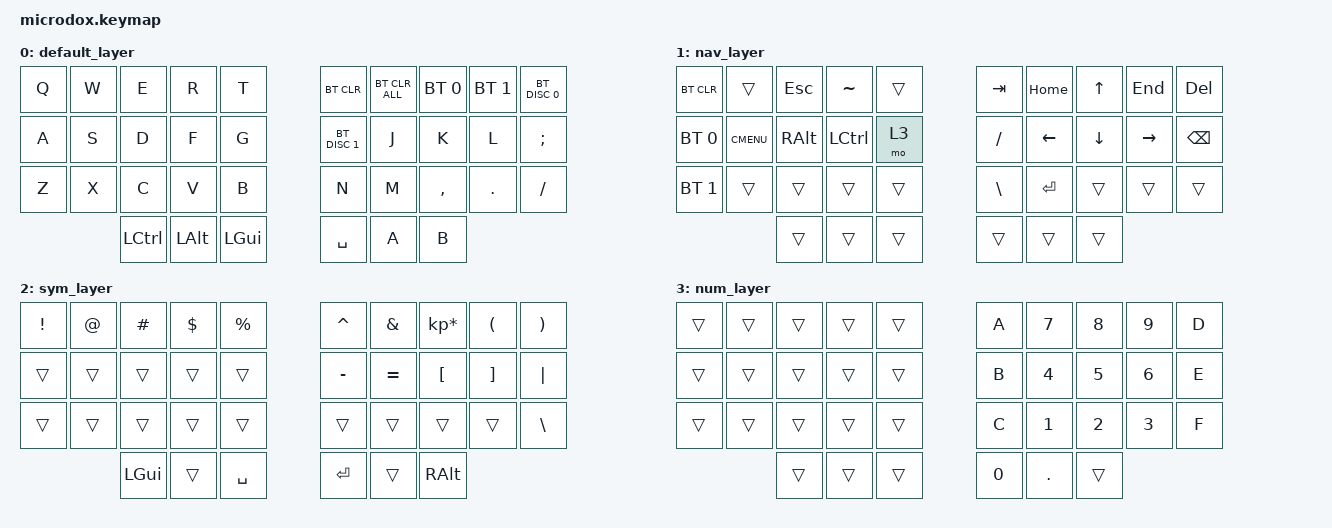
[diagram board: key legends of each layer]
/*
 * Copyright (c) 2020 The ZMK Contributors
 *
 * SPDX-License-Identifier: MIT
 */

#include <behaviors.dtsi>
#include <dt-bindings/zmk/bt.h>
#include <dt-bindings/zmk/keys.h>

/ {
    keymap {
        compatible = "zmk,keymap";

        default_layer {
            // -----------------------------------------------------------------------------------------
            // |  Q  |  W  |  E  |  R  |  T   |   |  Y  |  U   |  I  |  O  |  P  |
            // |  A  |  S  |  D  |  F  |  G   |   |  H  |  J   |  K  |  L  |  ;  |
            // |  Z  |  X  |  C  |  V  |  B   |   |  N  |  M   |  ,  |  .  |  /  |
            //             | GUI | NAV | SHFT |   | SPC | SYM  | ALT |

            bindings = <
&kp Q  &kp W  &kp E      &kp R     &kp T       &bt BT_CLR     &bt BT_CLR_ALL  &bt BT_SEL 0  &bt BT_SEL 1  &bt BT_DISC 0
&kp A  &kp S  &kp D      &kp F     &kp G       &bt BT_DISC 1  &kp J           &kp K         &kp L         &kp SEMI
&kp Z  &kp X  &kp C      &kp V     &kp B       &kp N          &kp M           &kp COMMA     &kp DOT       &kp FSLH
              &kp LCTRL  &kp LALT  &kp LGUI    &kp SPACE      &kp A           &kp B
            >;
        };

        nav_layer {
            // -----------------------------------------------------------------------------------------
            // |BTCLR|     | ESC |  ~   |     |   | TAB | HOME |  UP  | END | DEL  |
            // | BT1 | GUI | ALT | CTRL | NUM |   |  /  | LEFT | DOWN | RGT | BKSP |
            // | BT2 |     |     |      |     |   |  \  | ENT  |      |     |      |
            //             |     |      |     |   |     |      |      |

            bindings = <
&bt BT_CLR    &trans       &kp ESC   &kp TILDE  &trans    &kp TAB   &kp HOME  &kp UP    &kp END    &kp DEL
&bt BT_SEL 0  &kp K_CMENU  &kp RALT  &kp LCTRL  &mo 3     &kp FSLH  &kp LEFT  &kp DOWN  &kp RIGHT  &kp BSPC
&bt BT_SEL 1  &trans       &trans    &trans     &trans    &kp BSLH  &kp RET   &trans    &trans     &trans
                           &trans    &trans     &trans    &trans    &trans    &trans
            >;
        };

        sym_layer {
            // -----------------------------------------------------------------------------------------
            // |  !  |  @  |  #  |  $  |  %  |   |  ^  |  &  |  *  |  (  |  )  |
            // |     |     |     |     |     |   |  -  |  =  |  {  |  }  | "|" |
            // |     |     |     |     |     |   |  _  |  +  |  [  |  ]  |  \  |
            //             | GUI |     | SPC |   | ENT |     | ALT |

            bindings = <
&kp EXCL  &kp AT  &kp HASH  &kp DLLR  &kp PRCNT    &kp CARET  &kp AMPS   &kp KP_MULTIPLY  &kp LPAR  &kp RPAR
&trans    &trans  &trans    &trans    &trans       &kp MINUS  &kp EQUAL  &kp LBKT         &kp RBKT  &kp PIPE
&trans    &trans  &trans    &trans    &trans       &trans     &trans     &trans           &trans    &kp BSLH
                  &kp LGUI  &trans    &kp SPACE    &kp RET    &trans     &kp RALT
            >;
        };

        // This layer is unreachable until "tri layer state" is sorted out.
        // Leaving it here for completeness.

        num_layer {
            // -----------------------------------------------------------------------------------------
            // |     |     |     |     |     |   |  A  |  7  |  8  |  9  |  D  |
            // |     |     |     |     |     |   |  B  |  4  |  5  |  6  |  E  |
            // |     |     |     |     |     |   |  C  |  1  |  2  |  3  |  F  |
            //             |     |     |     |   |  0  |  .  |     |

            bindings = <
&trans  &trans  &trans  &trans  &trans    &kp A   &kp N7   &kp N8  &kp N9  &kp D
&trans  &trans  &trans  &trans  &trans    &kp B   &kp N4   &kp N5  &kp N6  &kp E
&trans  &trans  &trans  &trans  &trans    &kp C   &kp N1   &kp N2  &kp N3  &kp F
                &trans  &trans  &trans    &kp N0  &kp DOT  &trans
            >;
        };
    };
};
